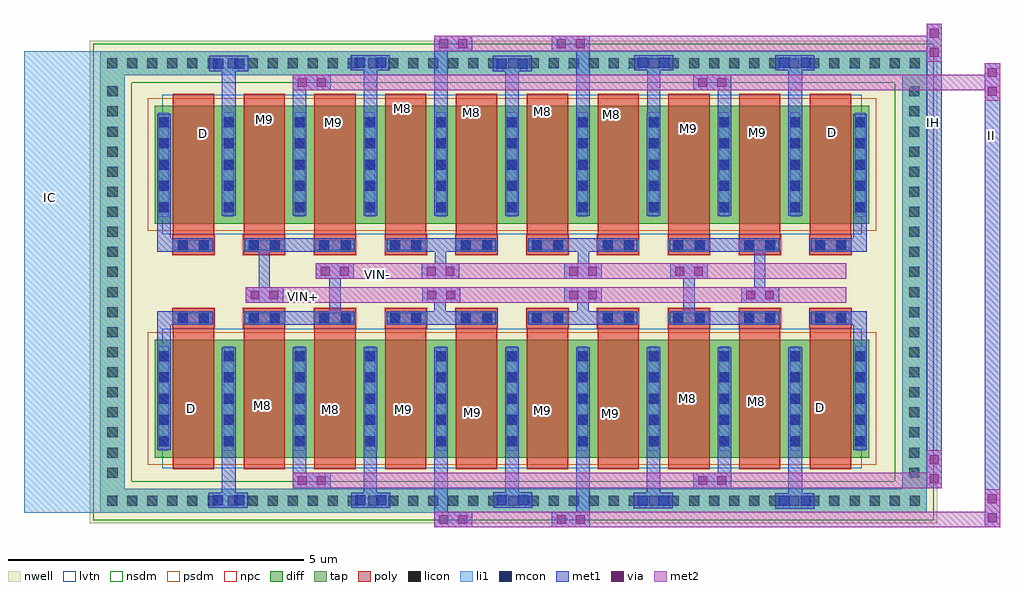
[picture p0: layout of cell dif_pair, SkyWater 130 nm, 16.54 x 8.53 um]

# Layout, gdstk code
from math import pi, radians
import gdstk
lib = gdstk.Library(unit=1e-6, precision=1e-09)
def R(c, l, rs):  # rectangles x0, y0, x1, y1
    for r in rs: c.add(gdstk.rectangle(r[:2], r[2:], *l))
def A(c, l, x, y, w, h, nx, ny, dx, dy):  # array of equal rectangles
    R(c, l, [(x+i*dx, y+j*dy, x+i*dx+w, y+j*dy+h) for i in range(nx) for j in range(ny)])
nwell = (64, 20)
diff = (65, 20)
tap = (65, 44)
poly = (66, 20)
licon = (66, 44)
li1 = (67, 20)
mcon = (67, 44)
met1 = (68, 20)
via = (68, 44)
met2 = (69, 20)
nsdm = (93, 44)
psdm = (94, 20)
npc = (95, 20)
lvtn = (125, 44)

pfet_2 = lib.new_cell('pfet$2')
R(pfet_2, nwell, [(-0.305,-0.38,12.405,2.72)])
R(pfet_2, diff, [(0,0,12.1,2)])
A(pfet_2, poly, 0.3, -0.2, 0.7, 2.4, 10, 1, 1.2, 0)
A(pfet_2, poly, 0.3, 2.2, 0.7, 0.33, 10, 1, 1.2, 0)
A(pfet_2, licon, 0.065, 0.195, 0.17, 0.17, 1, 5, 0, 0.36)
A(pfet_2, licon, 1.165, 0.195, 0.17, 0.17, 9, 5, 1.2, 0.36)
A(pfet_2, licon, 11.865, 0.195, 0.17, 0.17, 1, 5, 0, 0.36)
R(pfet_2, licon, [(0.385,2.28,0.555,2.45), (0.745,2.28,0.915,2.45), (1.585,2.28,1.755,2.45), (1.945,2.28,2.115,2.45), (2.785,2.28,2.955,2.45), (3.145,2.28,3.315,2.45), (3.985,2.28,4.155,2.45), (4.345,2.28,4.515,2.45), (5.185,2.28,5.355,2.45), (5.545,2.28,5.715,2.45), (6.385,2.28,6.555,2.45), (6.745,2.28,6.915,2.45), (7.585,2.28,7.755,2.45), (7.945,2.28,8.115,2.45), (8.785,2.28,8.955,2.45), (9.145,2.28,9.315,2.45), (9.985,2.28,10.155,2.45), (10.345,2.28,10.515,2.45), (11.185,2.28,11.355,2.45), (11.545,2.28,11.715,2.45)])
A(pfet_2, li1, 1.165, 0.115, 0.17, 1.77, 9, 1, 1.2, 0)
A(pfet_2, li1, 0.305, 2.28, 0.69, 0.17, 10, 1, 1.2, 0)
R(pfet_2, li1, [(0.065,0.115,0.235,1.885), (11.865,0.115,12.035,1.885)])
A(pfet_2, mcon, 0.065, 0.195, 0.17, 0.17, 1, 5, 0, 0.36)
A(pfet_2, mcon, 1.165, 0.195, 0.17, 0.17, 9, 5, 1.2, 0.36)
A(pfet_2, mcon, 11.865, 0.195, 0.17, 0.17, 1, 5, 0, 0.36)
R(pfet_2, mcon, [(0.385,2.28,0.555,2.45), (0.745,2.28,0.915,2.45), (1.585,2.28,1.755,2.45), (1.945,2.28,2.115,2.45), (2.785,2.28,2.955,2.45), (3.145,2.28,3.315,2.45), (3.985,2.28,4.155,2.45), (4.345,2.28,4.515,2.45), (5.185,2.28,5.355,2.45), (5.545,2.28,5.715,2.45), (6.385,2.28,6.555,2.45), (6.745,2.28,6.915,2.45), (7.585,2.28,7.755,2.45), (7.945,2.28,8.115,2.45), (8.785,2.28,8.955,2.45), (9.145,2.28,9.315,2.45), (9.985,2.28,10.155,2.45), (10.345,2.28,10.515,2.45), (11.185,2.28,11.355,2.45), (11.545,2.28,11.715,2.45)])
A(pfet_2, met1, 1.135, 0.135, 0.23, 1.73, 9, 1, 1.2, 0)
A(pfet_2, met1, 0.325, 2.25, 0.65, 0.23, 10, 1, 1.2, 0)
R(pfet_2, met1, [(0.035,0.135,0.265,1.865), (11.835,0.135,12.065,1.865)])
R(pfet_2, psdm, [(-0.125,-0.125,12.225,2.125)])
A(pfet_2, npc, 0.29, 2.19, 0.72, 0.35, 10, 1, 1.2, 0)
R(pfet_2, lvtn, [(0.12,-0.18,11.98,2.18)])

vias_gen_2 = lib.new_cell('vias_gen$2')
R(vias_gen_2, met1, [(0,0,0.64,0.26)])
R(vias_gen_2, via, [(0.085,0.055,0.235,0.205), (0.405,0.055,0.555,0.205)])
R(vias_gen_2, met2, [(0,0,0.64,0.26)])

vias_gen_8 = lib.new_cell('vias_gen$8')
R(vias_gen_8, nwell, [(-0.18,-0.18,0.59,7.18)])
R(vias_gen_8, tap, [(0,0,0.41,7)])
A(vias_gen_8, licon, 0.12, 0.185, 0.17, 0.17, 1, 20, 0, 0.34)
R(vias_gen_8, li1, [(0,0,0.41,7)])
R(vias_gen_8, nsdm, [(-0.125,-0.125,0.535,7.125)])

vias_gen_12 = lib.new_cell('vias_gen$12')
R(vias_gen_12, nwell, [(-0.18,-0.18,0.59,14.18)])
R(vias_gen_12, tap, [(0,0,0.41,14)])
A(vias_gen_12, licon, 0.12, 0.115, 0.17, 0.17, 1, 41, 0, 0.34)
R(vias_gen_12, li1, [(0,0,0.41,14)])
R(vias_gen_12, nsdm, [(-0.125,-0.125,0.535,14.125)])

vias_gen_15 = lib.new_cell('vias_gen$15')
R(vias_gen_15, li1, [(0,0,0.66,0.26)])
R(vias_gen_15, mcon, [(0.065,0.045,0.235,0.215), (0.425,0.045,0.595,0.215)])
R(vias_gen_15, met1, [(0,0,0.66,0.26)])

dif_pair = lib.new_cell('dif_pair')
R(dif_pair, nwell, [(-25.365,25.67,-11.005,33.85)])
R(dif_pair, li1, [(-26.48,25.85,-25.185,33.67)])
A(dif_pair, met1, -18.325, 25.985, 0.23, 0.935, 3, 1, 2.4, 0)
A(dif_pair, met1, -23.125, 32.615, 0.23, 0.935, 3, 1, 2.4, 0)
R(dif_pair, met1, [(-19.525,25.605,-19.295,26.92), (-10.2,25.605,-9.94,32.83), (-17.125,25.865,-16.895,26.92), (-23.125,25.985,-22.895,26.92), (-20.72,25.985,-20.5,26.92), (-21.925,26.265,-21.695,26.92), (-11.185,26.265,-10.925,33.495), (-14.725,26.4,-14.495,26.92), (-24.225,28.65,-23.995,29.195), (-12.425,28.65,-12.195,29.265), (-24.225,29.035,-23.935,29.265), (-22.085,29.035,-21.53,29.265), (-19.685,29.035,-19.13,29.265), (-19.525,29.035,-19.335,29.67), (-17.285,29.035,-16.735,29.265), (-17.1,29.035,-16.91,29.67), (-14.885,29.035,-14.335,29.265), (-12.485,29.035,-12.195,29.265), (-15.305,29.065,-15.115,30.07), (-21.305,29.235,-21.115,29.985), (-14.105,29.465,-13.915,30.47), (-22.505,29.495,-22.315,30.5), (-19.515,29.865,-19.325,30.5), (-17.095,29.865,-16.905,30.5), (-24.225,30.27,-23.935,30.5), (-22.085,30.27,-21.535,30.5), (-17.285,30.27,-16.73,30.5), (-14.885,30.27,-14.335,30.5), (-12.485,30.27,-12.195,30.5), (-19.685,30.275,-19.135,30.5), (-24.225,30.335,-23.995,30.885), (-12.425,30.38,-12.195,30.885), (-21.925,32.615,-21.695,33.135), (-19.525,32.615,-19.295,33.67), (-17.125,32.615,-16.895,33.93), (-15.92,32.615,-15.7,33.55), (-14.725,32.615,-14.495,33.27), (-13.525,32.615,-13.295,33.55)])
R(dif_pair, met2, [(-19.525,25.605,-9.94,25.865), (-21.925,26.265,-10.925,26.525), (-22.725,29.41,-12.545,29.67), (-21.535,29.815,-12.545,30.075), (-21.285,33.01,-10.2,33.27), (-18.885,33.67,-11.185,33.93)])
dif_pair.add(gdstk.Reference(pfet_2, (-24.26,26.785)))
dif_pair.add(gdstk.Reference(vias_gen_2, (-22.725,29.41)))
dif_pair.add(gdstk.Reference(vias_gen_2, (-21.535,29.815)))
dif_pair.add(gdstk.Reference(vias_gen_2, (-14.325,29.41)))
dif_pair.add(gdstk.Reference(vias_gen_2, (-15.53,29.815)))
dif_pair.add(gdstk.Reference(vias_gen_2, (-19.73,29.41)))
dif_pair.add(gdstk.Reference(vias_gen_2, (-19.74,29.815)))
dif_pair.add(gdstk.Reference(vias_gen_2, (-17.325,29.815)))
dif_pair.add(gdstk.Reference(vias_gen_2, (-17.325,29.41)))
dif_pair.add(gdstk.Reference(pfet_2, (-12.16,32.75), rotation=pi))
dif_pair.add(gdstk.Reference(vias_gen_8, (-25.185,26.26)))
dif_pair.add(gdstk.Reference(vias_gen_8, (-11.595,26.26)))
dif_pair.add(gdstk.Reference(vias_gen_12, (-25.185,33.67), rotation=3*pi/2))
dif_pair.add(gdstk.Reference(vias_gen_12, (-25.185,26.26), rotation=3*pi/2))
dif_pair.add(gdstk.Reference(vias_gen_2, (-21.925,33.01)))
dif_pair.add(gdstk.Reference(vias_gen_2, (-15.135,33.01)))
dif_pair.add(gdstk.Reference(vias_gen_2, (-19.525,33.67)))
dif_pair.add(gdstk.Reference(vias_gen_2, (-17.535,33.67)))
dif_pair.add(gdstk.Reference(vias_gen_2, (-18.885,25.865), rotation=pi))
dif_pair.add(gdstk.Reference(vias_gen_2, (-16.895,25.865), rotation=pi))
dif_pair.add(gdstk.Reference(vias_gen_2, (-21.285,26.525), rotation=pi))
dif_pair.add(gdstk.Reference(vias_gen_2, (-14.495,26.525), rotation=pi))
dif_pair.add(gdstk.Reference(vias_gen_2, (-11.185,34.135), rotation=3*pi/2))
dif_pair.add(gdstk.Reference(vias_gen_2, (-10.2,33.47), rotation=3*pi/2))
dif_pair.add(gdstk.Reference(vias_gen_2, (-11.185,26.905), rotation=3*pi/2))
dif_pair.add(gdstk.Reference(vias_gen_2, (-10.2,26.245), rotation=3*pi/2))
dif_pair.add(gdstk.Reference(vias_gen_15, (-23.34,33.33)))
dif_pair.add(gdstk.Reference(vias_gen_15, (-20.94,33.345)))
dif_pair.add(gdstk.Reference(vias_gen_15, (-18.535,33.33)))
dif_pair.add(gdstk.Reference(vias_gen_15, (-16.14,33.345)))
dif_pair.add(gdstk.Reference(vias_gen_15, (-13.745,33.345)))
dif_pair.add(gdstk.Reference(vias_gen_15, (-13.745,25.92)))
dif_pair.add(gdstk.Reference(vias_gen_15, (-16.145,25.925)))
dif_pair.add(gdstk.Reference(vias_gen_15, (-18.53,25.935)))
dif_pair.add(gdstk.Reference(vias_gen_15, (-20.935,25.93)))
dif_pair.add(gdstk.Reference(vias_gen_15, (-23.345,25.93)))
dif_pair.add(gdstk.Label('D', (-12.775,32.29), layer=68, texttype=5))
dif_pair.add(gdstk.Label('M8', (-16.52,32.595), layer=68, texttype=5))
dif_pair.add(gdstk.Label('M8', (-17.685,32.65), layer=68, texttype=5))
dif_pair.add(gdstk.Label('M9', (-14.05,32.3), layer=68, texttype=5))
dif_pair.add(gdstk.Label('M9', (-15.215,32.355), layer=68, texttype=5))
dif_pair.add(gdstk.Label('M9', (-21.24,32.455), layer=68, texttype=5))
dif_pair.add(gdstk.Label('M9', (-22.405,32.51), layer=68, texttype=5))
dif_pair.add(gdstk.Label('M8', (-18.9,32.64), layer=68, texttype=5))
dif_pair.add(gdstk.Label('M8', (-20.065,32.695), layer=68, texttype=5))
dif_pair.add(gdstk.Label('D', (-23.445,32.275), layer=68, texttype=5))
dif_pair.add(gdstk.Label('D', (-23.645,27.61), layer=68, texttype=5))
dif_pair.add(gdstk.Label('M8', (-22.445,27.66), layer=68, texttype=5))
dif_pair.add(gdstk.Label('M8', (-21.28,27.605), layer=68, texttype=5))
dif_pair.add(gdstk.Label('M9', (-20.05,27.605), layer=68, texttype=5))
dif_pair.add(gdstk.Label('M9', (-18.885,27.55), layer=68, texttype=5))
dif_pair.add(gdstk.Label('M9', (-17.7,27.585), layer=68, texttype=5))
dif_pair.add(gdstk.Label('M9', (-16.535,27.53), layer=68, texttype=5))
dif_pair.add(gdstk.Label('M8', (-15.24,27.79), layer=68, texttype=5))
dif_pair.add(gdstk.Label('M8', (-14.075,27.735), layer=68, texttype=5))
dif_pair.add(gdstk.Label('D', (-12.975,27.625), layer=68, texttype=5))
dif_pair.add(gdstk.Label('IC', (-26.05,31.195), layer=67, texttype=16))
dif_pair.add(gdstk.Label('VIN+', (-21.745,29.515), layer=69, texttype=16))
dif_pair.add(gdstk.Label('VIN-', (-20.49,29.88), layer=69, texttype=16))
dif_pair.add(gdstk.Label('IH', (-11.06,32.46), layer=68, texttype=16))
dif_pair.add(gdstk.Label('II', (-10.09,32.24), layer=68, texttype=16))

lib.write_gds('dif_pair.gds')
